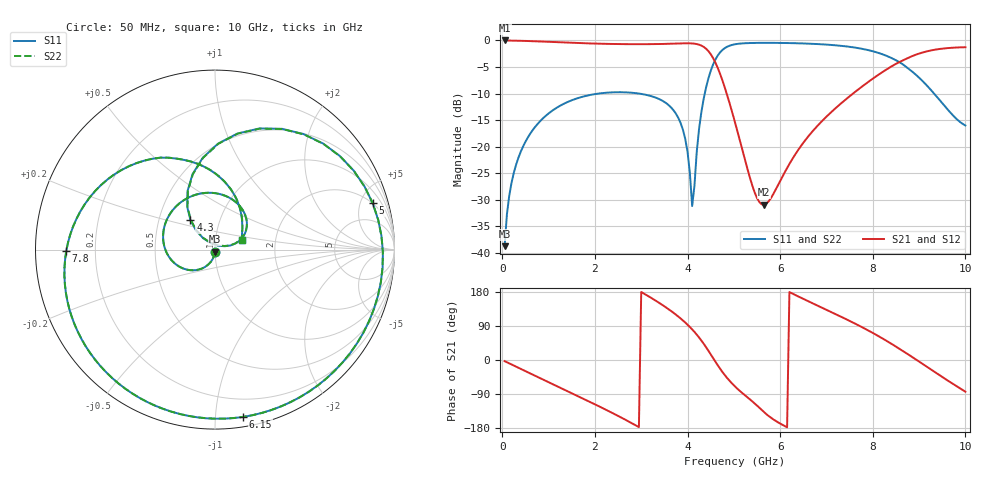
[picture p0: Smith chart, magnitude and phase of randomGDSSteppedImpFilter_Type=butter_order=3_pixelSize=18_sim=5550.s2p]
! freq	dB(S11)	phase(S11)	dB(S12)	phase(S12)
!  dB(S21)	phase(S21)	dB(S22)	phase(S22)
!S-par simulation data
#  GHz  S  DB  R 50
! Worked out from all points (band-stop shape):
!   200 points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, 50 MHz to 10 GHz, reference 50 ohm
!   highest |S21| = -0.01 dB at 50 MHz (marker M1); lowest = -30.9 dB at 5.65 GHz (marker M2)
!   |S21| within 3 dB of the highest: start of sweep to 4.53 GHz; 8.836 GHz to end of sweep
!   lowest |S11| = -38.7 dB at 50 MHz (marker M3), VSWR 1.02, Z = 49.9 - j1.16 ohm
!   |S11| at or under -10 dB: start of sweep to 2.079 GHz; 2.952 GHz to 4.373 GHz (1.421 GHz wide, 38.8 % of centre); 9.324 GHz to end of sweep
!   |S22| runs from -38.7 to -0.5 dB; largest |S21 - S12| = 0
!   S11 on the Smith chart (normalised r, x): 50 MHz: 1.00, -0.02; 4.3 GHz: 0.72, +0.25; 5 GHz: 1.97, +6.32; 6.15 GHz: 0.07, -1.18; 7.8 GHz: 0.09, -0.01; 10 GHz: 1.34, +0.15
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0.05  -38.72 -92.6  -0.01 -3.0  -0.01 -3.0  -38.72 -92.6
0.2  -26.77 -101.8  -0.03 -11.8  -0.03 -11.8  -26.77 -101.8
0.5  -19.07 -119.9  -0.09 -29.4  -0.09 -29.4  -19.07 -119.9
1.15  -12.80 -157.9  -0.32 -67.2  -0.32 -67.2  -12.80 -157.9
1.75  -10.56 167.2  -0.53 -102.1  -0.53 -102.1  -10.56 167.2
2.7  -9.79 109.1  -0.70 -160.4  -0.70 -160.4  -9.79 109.1
3.4  -11.09 60.1  -0.68 149.8  -0.68 149.8  -11.09 60.2
3.9  -16.79 19.7  -0.55 104.5  -0.55 104.5  -16.78 20.2
4  -20.97 15.0  -0.54 93.3  -0.54 93.3  -20.94 15.8
4.1  -31.17 53.2  -0.57 80.8  -0.57 80.8  -30.74 54.4
4.3  -13.43 129.8  -0.98 51.3  -0.98 51.3  -13.42 129.2
4.45  -7.17 106.6  -2.01 24.5  -2.01 24.5  -7.16 106.3
4.65  -2.87 69.9  -5.12 -13.5  -5.12 -13.5  -2.87 69.7
5  -0.76 16.4  -14.63 -66.9  -14.63 -66.9  -0.76 16.3
5.05  -0.68 10.4  -16.22 -72.9  -16.22 -72.9  -0.68 10.3
5.65  -0.45 -45.4  -30.94 -137.3  -30.94 -137.3  -0.45 -45.5
6.15  -0.49 -80.4  -24.01 -177.6  -24.01 -177.6  -0.49 -80.5
6.7  -0.64 -114.1  -17.10 149.7  -17.10 149.7  -0.64 -114.1
7.8  -1.63 -179.4  -8.47 84.6  -8.47 84.6  -1.63 -179.4
8.35  -3.09 143.3  -5.17 46.7  -5.17 46.7  -3.10 143.3
9.15  -8.32 82.4  -2.10 -16.6  -2.10 -16.6  -8.32 82.1
10  -16.01 19.9  -1.28 -83.6  -1.28 -83.6  -16.04 19.0
